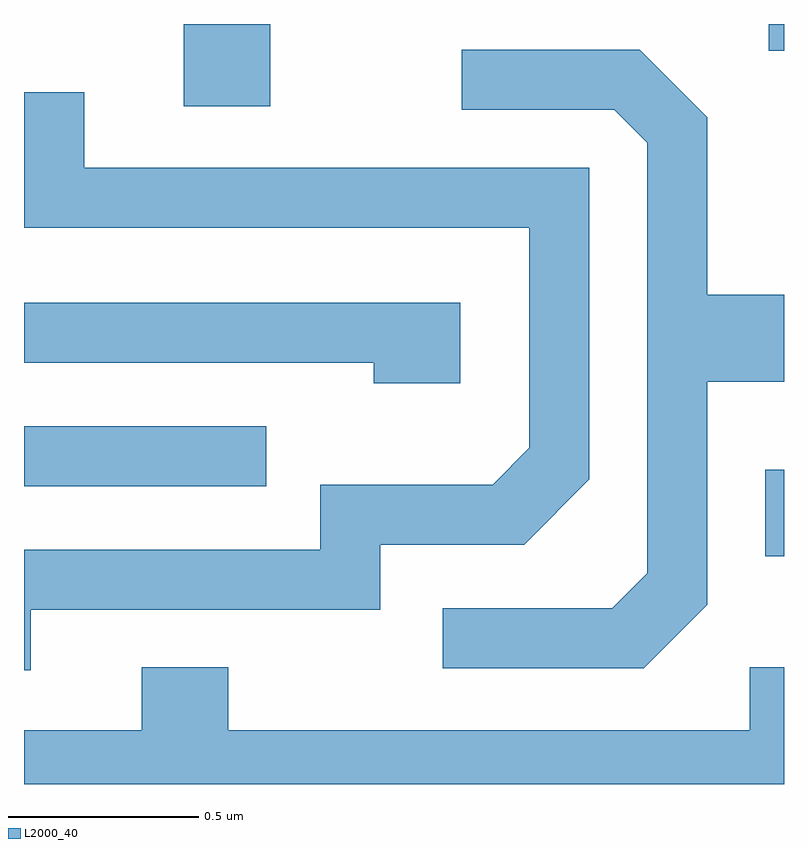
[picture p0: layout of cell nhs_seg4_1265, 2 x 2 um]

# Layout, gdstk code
import gdstk
lib = gdstk.Library(unit=1e-6, precision=1e-09)
def R(c, l, rs):  # rectangles x0, y0, x1, y1
    for r in rs: c.add(gdstk.rectangle(r[:2], r[2:], *l))
def P(c, l, *ps):  # polygons
    for p in ps: c.add(gdstk.Polygon(p, *l))
L2000_40 = (2000, 40)

nhs_seg4_1265 = lib.new_cell('nhs_seg4_1265')
R(nhs_seg4_1265, L2000_40, [(196.561,1286.581,196.611,1286.809), (194.611,1286.766,195.248,1286.924), (195.031,1287.766,195.259,1287.982), (196.571,1287.911,196.611,1287.982)])
P(nhs_seg4_1265, L2000_40, [(196.409,1286.454),(196.409,1287.041),(196.611,1287.041),(196.611,1287.269),(196.409,1287.269),(196.409,1287.737),(196.232,1287.914),(195.763,1287.914),(195.763,1287.756),(196.164,1287.756),(196.251,1287.669),(196.251,1286.537),(196.159,1286.444),(195.713,1286.444),(195.713,1286.286),(196.242,1286.286)],
  [(194.629,1286.441),(195.549,1286.441),(195.549,1286.611),(195.927,1286.611),(196.099,1286.784),(196.099,1287.604),(194.769,1287.604),(194.769,1287.803),(194.611,1287.803),(194.611,1287.446),(195.941,1287.446),(195.941,1286.867),(195.844,1286.769),(195.391,1286.769),(195.391,1286.599),(194.611,1286.599),(194.611,1286.281),(194.629,1286.281)],
  [(195.759,1287.249),(194.611,1287.249),(194.611,1287.091),(195.531,1287.091),(195.531,1287.036),(195.759,1287.036)],
  [(196.611,1286.289),(196.521,1286.289),(196.521,1286.124),(195.149,1286.124),(195.149,1286.289),(194.921,1286.289),(194.921,1286.124),(194.611,1286.124),(194.611,1285.982),(196.611,1285.982)])

lib.write_gds('nhs_seg4_1265.gds')
